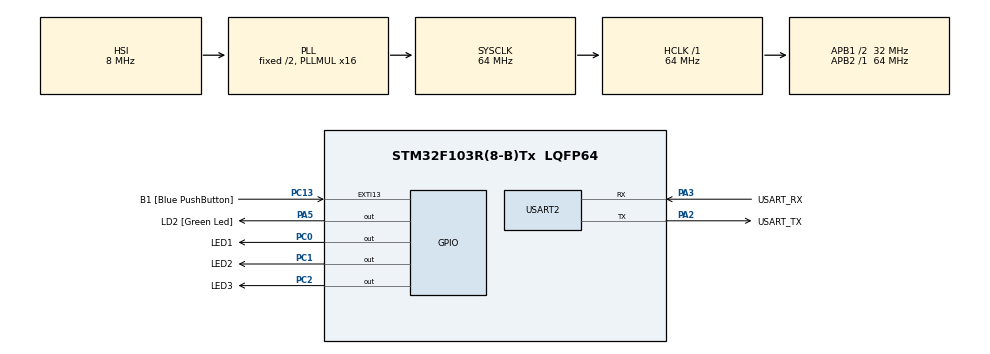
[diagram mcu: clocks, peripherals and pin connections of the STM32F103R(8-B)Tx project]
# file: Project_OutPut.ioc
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Mcu.Family=STM32F1
Mcu.Name=STM32F103R(8-B)Tx
Mcu.Package=LQFP64
NVIC.EXTI15_10_IRQn=true\:0\:0\:false\:false\:true\:true\:true\:true
NVIC.PriorityGroup=NVIC_PRIORITYGROUP_4
PA13.GPIO_Label=TMS
PA13.Mode=Serial_Wire
PA13.Signal=SYS_JTMS-SWDIO
PA14.GPIO_Label=TCK
PA14.Mode=Serial_Wire
PA14.Signal=SYS_JTCK-SWCLK
PA2.GPIO_Label=USART_TX
PA2.GPIO_Mode=GPIO_MODE_AF_PP
PA2.GPIO_PuPd=GPIO_NOPULL
PA2.GPIO_Speed=GPIO_SPEED_FREQ_LOW
PA2.Mode=Asynchronous
PA2.Signal=USART2_TX
PA3.GPIO_Label=USART_RX
PA3.GPIO_Mode=GPIO_MODE_AF_PP
PA3.GPIO_PuPd=GPIO_NOPULL
PA3.GPIO_Speed=GPIO_SPEED_FREQ_LOW
PA3.Mode=Asynchronous
PA3.Signal=USART2_RX
PA5.GPIO_Label=LD2 [Green Led]
PA5.GPIO_ModeDefaultOutputPP=GPIO_MODE_OUTPUT_PP
PA5.GPIO_PuPd=GPIO_NOPULL
PA5.GPIO_Speed=GPIO_SPEED_FREQ_LOW
PA5.Signal=GPIO_Output
PB3.GPIO_Label=SWO
PB3.Signal=SYS_JTDO-TRACESWO
PC0.GPIO_Label=LED1
PC0.Signal=GPIO_Output
PC1.GPIO_Label=LED2
PC1.Signal=GPIO_Output
PC13-TAMPER-RTC.GPIO_Label=B1 [Blue PushButton]
PC13-TAMPER-RTC.GPIO_PuPd=GPIO_NOPULL
PC13-TAMPER-RTC.Signal=GPXTI13
PC14-OSC32_IN.Signal=RCC_OSC32_IN
PC15-OSC32_OUT.Signal=RCC_OSC32_OUT
PC2.GPIO_Label=LED3
PC2.Signal=GPIO_Output
PD0-OSC_IN.Signal=RCC_OSC_IN
PD1-OSC_OUT.Signal=RCC_OSC_OUT
ProjectManager.HeapSize=0x200
ProjectManager.StackSize=0x400
ProjectManager.TargetToolchain=STM32CubeIDE
RCC.AHBFreq_Value=64000000
RCC.APB1CLKDivider=RCC_HCLK_DIV2
RCC.APB1Freq_Value=32000000
RCC.APB1TimFreq_Value=64000000
RCC.APB2Freq_Value=64000000
RCC.APB2TimFreq_Value=64000000
RCC.HCLKFreq_Value=64000000
RCC.PLLMUL=RCC_PLL_MUL16
RCC.RTCClockSelection=RCC_RTCCLKSOURCE_LSE
RCC.SYSCLKFreq_VALUE=64000000
RCC.SYSCLKSource=RCC_SYSCLKSOURCE_PLLCLK
RCC.USBFreq_Value=64000000
USART2.VirtualMode=VM_ASYNC
board=NUCLEO-F103RB

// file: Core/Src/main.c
/* USER CODE BEGIN Header */
/**
  ******************************************************************************
  * @file           : main.c
  * @brief          : Main program body
  ******************************************************************************
  * @attention
  *
  * Copyright (c) 2024 STMicroelectronics.
  * All rights reserved.
  *
  * This software is licensed under terms that can be found in the LICENSE file
  * in the root directory of this software component.
  * If no LICENSE file comes with this software, it is provided AS-IS.
  *
  ******************************************************************************
  */
/* USER CODE END Header */
#include "main.h"

UART_HandleTypeDef huart2;

void SystemClock_Config(void);
static void MX_GPIO_Init(void);
static void MX_USART2_UART_Init(void);

int main(void)
{

  /* MCU Configuration--------------------------------------------------------*/

  /* Reset of all peripherals, Initializes the Flash interface and the Systick. */
  HAL_Init();

  /* Configure the system clock */
  SystemClock_Config();

  /* Initialize all configured peripherals */
  MX_GPIO_Init();
  MX_USART2_UART_Init();
  /* USER CODE BEGIN 2 */
  void TurnOff(){

  	 HAL_Delay(100);
  	  HAL_GPIO_WritePin(LED1_GPIO_Port, LED1_Pin, GPIO_PIN_RESET);
  	  HAL_GPIO_WritePin(LED2_GPIO_Port, LED2_Pin, GPIO_PIN_RESET);
  	  HAL_GPIO_WritePin(LED3_GPIO_Port, LED3_Pin, GPIO_PIN_RESET);
  }

  HAL_GPIO_WritePin(LED1_GPIO_Port, LED1_Pin, GPIO_PIN_RESET);
  HAL_GPIO_WritePin(LED2_GPIO_Port, LED2_Pin, GPIO_PIN_RESET);
  HAL_GPIO_WritePin(LED3_GPIO_Port, LED3_Pin, GPIO_PIN_RESET);
  /* USER CODE END 2 */

  /* Infinite loop */
  /* USER CODE BEGIN WHILE */
  while (1)
  {

	  HAL_GPIO_WritePin(LED1_GPIO_Port, LED1_Pin, GPIO_PIN_SET); // Set LD12 low
	  TurnOff();
	  HAL_Delay(500);
	  HAL_GPIO_WritePin(LED1_GPIO_Port, LED1_Pin, GPIO_PIN_SET); // Set LD12 low
	  HAL_GPIO_WritePin(LED2_GPIO_Port, LED2_Pin, GPIO_PIN_SET);
	  TurnOff();
	  HAL_Delay(500);
	  HAL_GPIO_WritePin(LED1_GPIO_Port, LED1_Pin, GPIO_PIN_SET); // Set LD12 low
	  HAL_GPIO_WritePin(LED2_GPIO_Port, LED2_Pin, GPIO_PIN_SET);
	  HAL_GPIO_WritePin(LED3_GPIO_Port, LED3_Pin, GPIO_PIN_SET);
	  TurnOff();
	  HAL_Delay(500);
	  HAL_GPIO_WritePin(LED2_GPIO_Port, LED2_Pin, GPIO_PIN_SET);
	  HAL_GPIO_WritePin(LED3_GPIO_Port, LED3_Pin, GPIO_PIN_SET);
	  TurnOff();
	  HAL_Delay(500);
	  HAL_GPIO_WritePin(LED3_GPIO_Port, LED3_Pin, GPIO_PIN_SET);
	  TurnOff();
	  HAL_Delay(500);

    /* USER CODE END WHILE */

  }
}

void SystemClock_Config(void)
{
  RCC_OscInitTypeDef RCC_OscInitStruct = {0};
  RCC_ClkInitTypeDef RCC_ClkInitStruct = {0};

  /** Initializes the RCC Oscillators according to the specified parameters
  * in the RCC_OscInitTypeDef structure.
  */
  RCC_OscInitStruct.OscillatorType = RCC_OSCILLATORTYPE_HSI;
  RCC_OscInitStruct.HSIState = RCC_HSI_ON;
  RCC_OscInitStruct.HSICalibrationValue = RCC_HSICALIBRATION_DEFAULT;
  RCC_OscInitStruct.PLL.PLLState = RCC_PLL_ON;
  RCC_OscInitStruct.PLL.PLLSource = RCC_PLLSOURCE_HSI_DIV2;
  RCC_OscInitStruct.PLL.PLLMUL = RCC_PLL_MUL16;
  if (HAL_RCC_OscConfig(&RCC_OscInitStruct) != HAL_OK)
  {
    Error_Handler();
  }

  /** Initializes the CPU, AHB and APB buses clocks
  */
  RCC_ClkInitStruct.ClockType = RCC_CLOCKTYPE_HCLK|RCC_CLOCKTYPE_SYSCLK
                              |RCC_CLOCKTYPE_PCLK1|RCC_CLOCKTYPE_PCLK2;
  RCC_ClkInitStruct.SYSCLKSource = RCC_SYSCLKSOURCE_PLLCLK;
  RCC_ClkInitStruct.AHBCLKDivider = RCC_SYSCLK_DIV1;
  RCC_ClkInitStruct.APB1CLKDivider = RCC_HCLK_DIV2;
  RCC_ClkInitStruct.APB2CLKDivider = RCC_HCLK_DIV1;

  if (HAL_RCC_ClockConfig(&RCC_ClkInitStruct, FLASH_LATENCY_2) != HAL_OK)
  {
    Error_Handler();
  }
}

static void MX_USART2_UART_Init(void)
{

  huart2.Instance = USART2;
  huart2.Init.BaudRate = 115200;
  huart2.Init.WordLength = UART_WORDLENGTH_8B;
  huart2.Init.StopBits = UART_STOPBITS_1;
  huart2.Init.Parity = UART_PARITY_NONE;
  huart2.Init.Mode = UART_MODE_TX_RX;
  huart2.Init.HwFlowCtl = UART_HWCONTROL_NONE;
  huart2.Init.OverSampling = UART_OVERSAMPLING_16;
  if (HAL_UART_Init(&huart2) != HAL_OK)
  {
    Error_Handler();
  }

}

static void MX_GPIO_Init(void)
{
  GPIO_InitTypeDef GPIO_InitStruct = {0};

  /* GPIO Ports Clock Enable */
  __HAL_RCC_GPIOC_CLK_ENABLE();
  __HAL_RCC_GPIOD_CLK_ENABLE();
  __HAL_RCC_GPIOA_CLK_ENABLE();
  __HAL_RCC_GPIOB_CLK_ENABLE();

  /*Configure GPIO pin Output Level */
  HAL_GPIO_WritePin(GPIOC, LED1_Pin|LED2_Pin|LED3_Pin, GPIO_PIN_RESET);

  /*Configure GPIO pin Output Level */
  HAL_GPIO_WritePin(LD2_GPIO_Port, LD2_Pin, GPIO_PIN_RESET);

  /*Configure GPIO pin : B1_Pin */
  GPIO_InitStruct.Pin = B1_Pin;
  GPIO_InitStruct.Mode = GPIO_MODE_IT_RISING;
  GPIO_InitStruct.Pull = GPIO_NOPULL;
  HAL_GPIO_Init(B1_GPIO_Port, &GPIO_InitStruct);

  /*Configure GPIO pins : LED1_Pin LED2_Pin LED3_Pin */
  GPIO_InitStruct.Pin = LED1_Pin|LED2_Pin|LED3_Pin;
  GPIO_InitStruct.Mode = GPIO_MODE_OUTPUT_PP;
  GPIO_InitStruct.Pull = GPIO_NOPULL;
  GPIO_InitStruct.Speed = GPIO_SPEED_FREQ_LOW;
  HAL_GPIO_Init(GPIOC, &GPIO_InitStruct);

  /*Configure GPIO pin : LD2_Pin */
  GPIO_InitStruct.Pin = LD2_Pin;
  GPIO_InitStruct.Mode = GPIO_MODE_OUTPUT_PP;
  GPIO_InitStruct.Pull = GPIO_NOPULL;
  GPIO_InitStruct.Speed = GPIO_SPEED_FREQ_LOW;
  HAL_GPIO_Init(LD2_GPIO_Port, &GPIO_InitStruct);

  /* EXTI interrupt init*/
  HAL_NVIC_SetPriority(EXTI15_10_IRQn, 0, 0);
  HAL_NVIC_EnableIRQ(EXTI15_10_IRQn);

}

void Error_Handler(void)
{
  __disable_irq();
  while (1)
  {
  }
}
